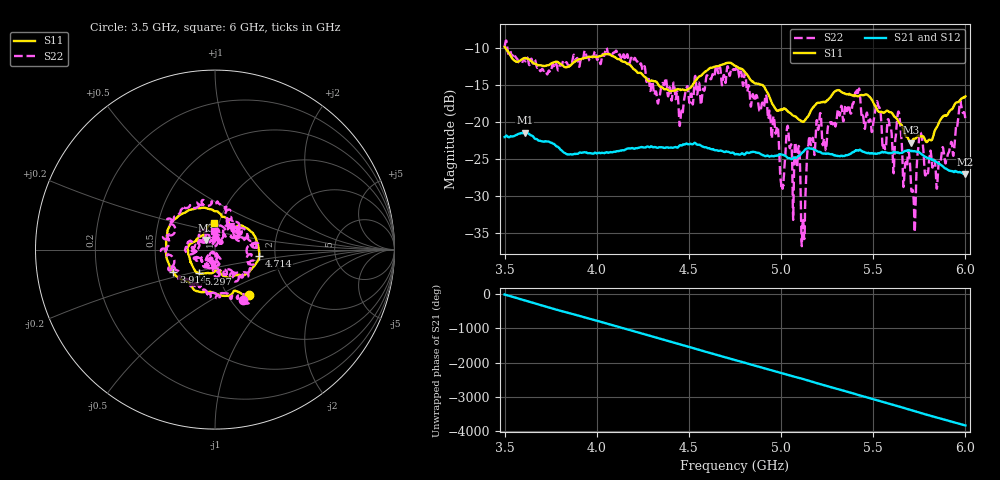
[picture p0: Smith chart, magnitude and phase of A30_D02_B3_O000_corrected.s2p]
! Created with skrf 1.9.0 (http://scikit-rf.org).
# Hz S RI R 50.0
!freq ReS11 ImS11 ReS21 ImS21 ReS12 ImS12 ReS22 ImS22
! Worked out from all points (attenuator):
!   1601 points, 3.5 GHz to 6 GHz, reference 50 ohm
!   highest |S21| = -21.51 dB at 3.609 GHz (marker M1); lowest = -27.1 dB at 6 GHz (marker M2)
!   lowest |S11| = -22.8 dB at 5.703 GHz (marker M3), VSWR 1.16, Z = 45.2 + j4.9 ohm
!   |S11| at or under -10 dB: 3.503 GHz to end of sweep
!   |S22| runs from -36.8 to -9.0 dB; largest |S21 - S12| = 0.00094
!   S11 on the Smith chart (normalised r, x): 3.5 GHz: 1.25, -0.71; 3.914 GHz: 0.61, -0.16; 4.714 GHz: 1.65, -0.13; 5.297 GHz: 0.81, -0.22; 6 GHz: 0.94, +0.29
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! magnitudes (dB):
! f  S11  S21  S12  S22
! 3.5 GHz  -9.9  -22.1  -22.1  -9.9
! 3.609 GHz  -11.4  -21.5  -21.5  -11.7
! 3.914 GHz  -11.6  -24.2  -24.1  -11.4
! 3.917 GHz  -11.6  -24.2  -24.2  -11.4
! 4.334 GHz  -15.1  -23.5  -23.4  -17.4
! 4.714 GHz  -12.1  -24.1  -24.1  -12.9
! 4.75 GHz  -12.5  -24.4  -24.3  -13.0
! 4.97 GHz  -18.3  -24.6  -24.5  -21.6
! 5.005 GHz  -18.3  -24.4  -24.4  -28.9
! 5.036 GHz  -18.6  -24.9  -24.8  -20.5
! 5.088 GHz  -19.5  -24.8  -24.8  -26.0
! 5.119 GHz  -20.0  -24.1  -24.0  -33.0
! 5.167 GHz  -18.3  -23.7  -23.6  -22.6
! 5.297 GHz  -15.9  -24.6  -24.5  -20.5
! 5.414 GHz  -16.6  -23.9  -23.9  -16.0
! 5.584 GHz  -18.7  -24.2  -24.2  -19.8
! 5.639 GHz  -20.1  -24.2  -24.2  -18.7
! 5.703 GHz  -22.8  -24.0  -23.9  -27.6
! 5.719 GHz  -22.3  -24.0  -23.9  -30.4
! 5.755 GHz  -22.0  -24.3  -24.2  -21.4
! 5.848 GHz  -20.6  -25.6  -25.5  -28.1
! 6 GHz  -16.6  -27.1  -27.0  -19.6
